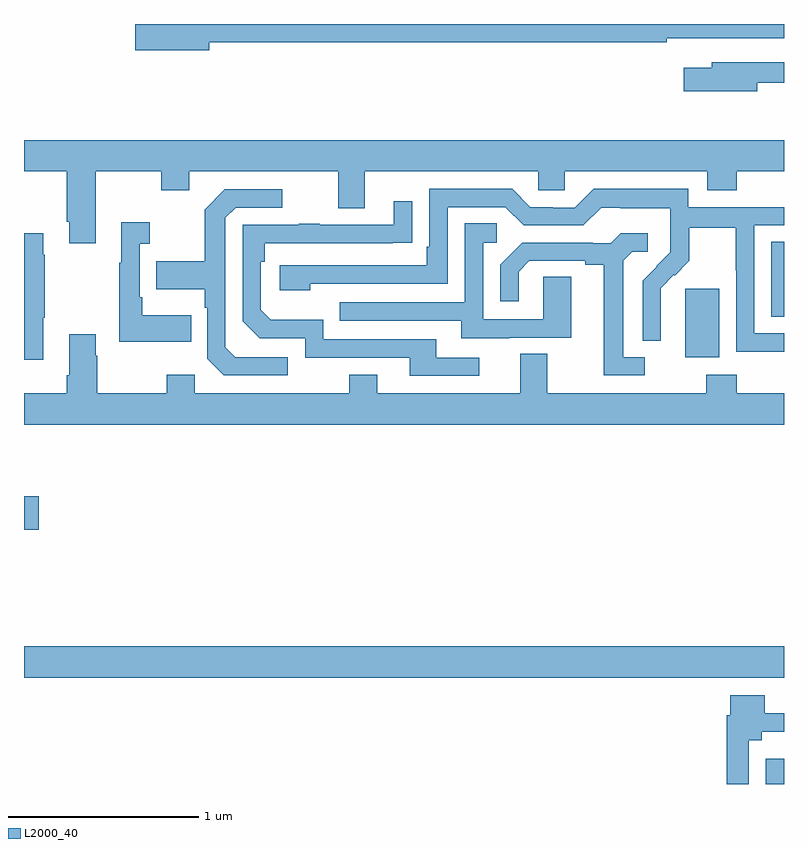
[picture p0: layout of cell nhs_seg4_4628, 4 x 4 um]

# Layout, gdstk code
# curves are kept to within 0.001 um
import gdstk
lib = gdstk.Library(unit=1e-6, precision=1e-09)
def R(c, l, rs):  # rectangles x0, y0, x1, y1
    for r in rs: c.add(gdstk.rectangle(r[:2], r[2:], *l))
def P(c, l, *ps):  # polygons
    for p in ps: c.add(gdstk.Polygon(p, *l))
L2000_40 = (2000, 40)

nhs_seg4_4628 = lib.new_cell('nhs_seg4_4628')
R(nhs_seg4_4628, L2000_40, [(362.903,822.9,363,823.033), (359,823.46,363,823.624), (359,824.237,359.077,824.415), (362.48,825.146,362.659,825.507), (362.933,825.358,363,825.755)])
P(nhs_seg4_4628, L2000_40, [(359.974,826.804),(362.384,826.804),(362.384,826.824),(363,826.824),(363,826.9),(359.586,826.9),(359.586,826.762),(359.974,826.762)],
  [(362.86,826.59),(363,826.59),(363,826.698),(362.621,826.698),(362.621,826.669),(362.472,826.669),(362.472,826.547),(362.86,826.547)],
  [(359.377,826.124),(359.722,826.124),(359.722,826.025),(359.869,826.025),(359.869,826.124),(360.653,826.124),(360.653,825.93),(360.793,825.93),(360.793,826.124),(361.707,826.124),(361.707,826.026),(361.845,826.026),(361.845,826.124),(362.597,826.124),(362.597,826.025),(362.75,826.025),(362.75,826.124),(363,826.124),(363,826.288),(359,826.288),(359,826.124),(359.225,826.124),(359.225,825.859),(359.237,825.859),(359.237,825.747),(359.377,825.747)],
  [(363,825.273),(362.844,825.273),(362.844,825.84),(363,825.84),(363,825.936),(362.496,825.936),(362.496,826.033),(361.999,826.033),(361.899,825.933),(361.784,825.933),(361.784,825.936),(361.665,825.936),(361.569,826.032),(361.134,826.032),(361.134,825.727),(361.121,825.727),(361.121,825.63),(360.345,825.63),(360.345,825.5),(360.506,825.5),(360.506,825.534),(361.23,825.534),(361.23,825.936),(361.533,825.936),(361.629,825.84),(361.944,825.84),(362.037,825.933),(362.137,825.933),(362.137,825.929),(362.4,825.929),(362.4,825.795),(362.402,825.795),(362.402,825.698),(362.256,825.55),(362.256,825.232),(362.352,825.232),(362.351,825.509),(362.421,825.579),(362.424,825.576),(362.501,825.653),(362.501,825.828),(362.746,825.828),(362.746,825.604),(362.748,825.604),(362.748,825.175),(363,825.175)],
  [(360.388,825.147),(360.111,825.147),(360.06,825.198),(360.06,825.879),(360.114,825.933),(360.358,825.933),(360.358,826.029),(360.057,826.029),(359.952,825.923),(359.952,825.651),(359.695,825.651),(359.695,825.503),(359.952,825.503),(359.952,825.407),(359.964,825.407),(359.964,825.138),(360.051,825.051),(360.388,825.051)],
  [(361.396,825.144),(361.171,825.144),(361.171,825.24),(360.576,825.24),(360.576,825.343),(360.299,825.343),(360.246,825.396),(360.246,825.65),(360.266,825.65),(360.266,825.747),(361.043,825.748),(361.043,825.967),(360.947,825.967),(360.947,825.843),(360.557,825.843),(360.557,825.848),(360.445,825.848),(360.445,825.843),(360.15,825.843),(360.15,825.336),(360.24,825.246),(360.48,825.246),(360.48,825.144),(361.031,825.144),(361.031,825.048),(361.396,825.048)],
  [(359.879,825.367),(359.623,825.367),(359.623,825.463),(359.61,825.463),(359.61,825.743),(359.662,825.743),(359.662,825.856),(359.513,825.856),(359.513,825.643),(359.502,825.643),(359.502,825.227),(359.879,825.227)],
  [(361.555,825.249),(361.879,825.249),(361.879,825.569),(361.734,825.569),(361.734,825.345),(361.416,825.345),(361.416,825.75),(361.489,825.75),(361.489,825.851),(361.32,825.851),(361.32,825.435),(360.661,825.435),(360.661,825.339),(361.301,825.339),(361.301,825.245),(361.555,825.245)],
  [(362.266,825.147),(362.155,825.147),(362.155,825.655),(362.202,825.702),(362.284,825.702),(362.284,825.799),(362.14,825.799),(362.088,825.747),(361.994,825.747),(361.994,825.75),(361.622,825.75),(361.506,825.634),(361.506,825.441),(361.603,825.441),(361.603,825.597),(361.66,825.654),(361.955,825.654),(361.955,825.632),(362.051,825.632),(362.051,825.051),(362.266,825.051)],
  [(359.101,825.355),(359.109,825.355),(359.109,825.686),(359.101,825.686),(359.101,825.799),(359,825.799),(359,825.132),(359.101,825.132)],
  [(363,824.956),(362.75,824.956),(362.75,825.055),(362.59,825.055),(362.59,824.956),(361.753,824.956),(361.753,825.164),(361.613,825.164),(361.613,824.956),(360.859,824.956),(360.859,825.055),(360.712,825.055),(360.712,824.956),(359.898,824.956),(359.898,825.055),(359.752,825.055),(359.752,824.956),(359.385,824.956),(359.385,825.155),(359.377,825.155),(359.377,825.268),(359.237,825.268),(359.237,825.052),(359.225,825.052),(359.225,824.956),(359,824.956),(359,824.792),(363,824.792)],
  [(362.814,823.13),(362.884,823.13),(362.884,823.176),(363,823.176),(363,823.272),(362.899,823.272),(362.899,823.366),(362.717,823.366),(362.717,823.262),(362.698,823.262),(362.698,822.9),(362.814,822.9)])

lib.write_gds('nhs_seg4_4628.gds')
